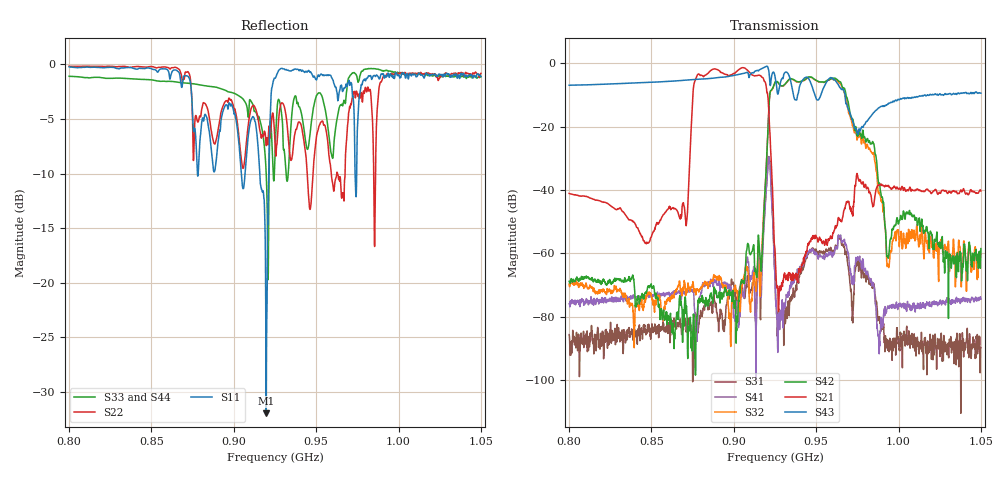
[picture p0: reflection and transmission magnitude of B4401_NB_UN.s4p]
! Matrix data file written by TouchstoneData, EPCOS AG
! FILENAME: "newformat_AA06A_x18y17_NB.s4p"
! COMMENT: "(AA06A_x18y17_NB.s4p) EPCOS AG 03.05.2012 14"
! INFO: nport=4, nfreq=1601
! DATE: "Mon Jun 25 17:54:25 2012"
! USER: "Sergey Rostovtsev"
! port | pin | signal
!  1  |  3  |  TX in
!  2  |  6  |  Ant in/out
!  3  |  8  |  RX out1
!  4  |  1  |  RX out2
# MHZ S MA R 50
! freq  magS11 angS11  magS12 angS12  magS13 angS13  magS14 angS14  ...
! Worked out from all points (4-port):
!   1601 points, 800 MHz to 1.05 GHz, reference 50 ohm
!   strongest paths, dB at 800 MHz, 862.5 MHz, 925 MHz, 987.5 MHz, 1.05 GHz:
!     S43: -7.0, -5.7, -4.2, -14.3, -9.5
!     S21: -41.1, -45.8, -58.9, -38.5, -40.3
!     S42: -68.8, -83.8, -6.0, -36.2, -58.5
!     S32: -69.7, -73.2, -6.1, -40.1, -60.0
!     S41: -75.9, -73.3, -67.1, -85.7, -74.5
!     S31: -85.6, -81.2, -67.3, -80.8, -89.8
!   lowest |S11| = -31.9 dB at 919.7 MHz (marker M1), VSWR 1.05, Z = 52.2 + j1.29 ohm
!   |S11| at or under -10 dB: 904.5495 MHz to 906.826 MHz (2.277 MHz wide, 0.251 % of centre); 915.8 MHz to 921.2 MHz (5.439 MHz wide, 0.592 % of centre); 973.6108 MHz to 974.5895 MHz (978.7 kHz wide, 0.1 % of centre) (the widest 3 of 4)
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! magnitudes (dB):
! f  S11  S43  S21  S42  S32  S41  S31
! 800 MHz  -0.2  -7.0  -41.1  -68.8  -69.7  -75.9  -85.6
! 847.8 MHz  -0.3  -6.1  -56.7  -70.7  -72.5  -73.3  -82.5
! 901.6 MHz  -5.3  -3.7  -2.7  -83.5  -72.1  -76.2  -74.2
! 919.7 MHz  -31.9  -1.0  -7.3  -33.2  -32.8  -39.7  -39.3
! 927.3 MHz  -0.5  -8.6  -75.7  -6.5  -6.6  -78.4  -77.5
! 993.9 MHz  -0.9  -12.8  -38.6  -61.4  -64.0  -77.1  -90.2
! 1.05 GHz  -1.1  -9.5  -40.3  -58.5  -60.0  -74.5  -89.8
